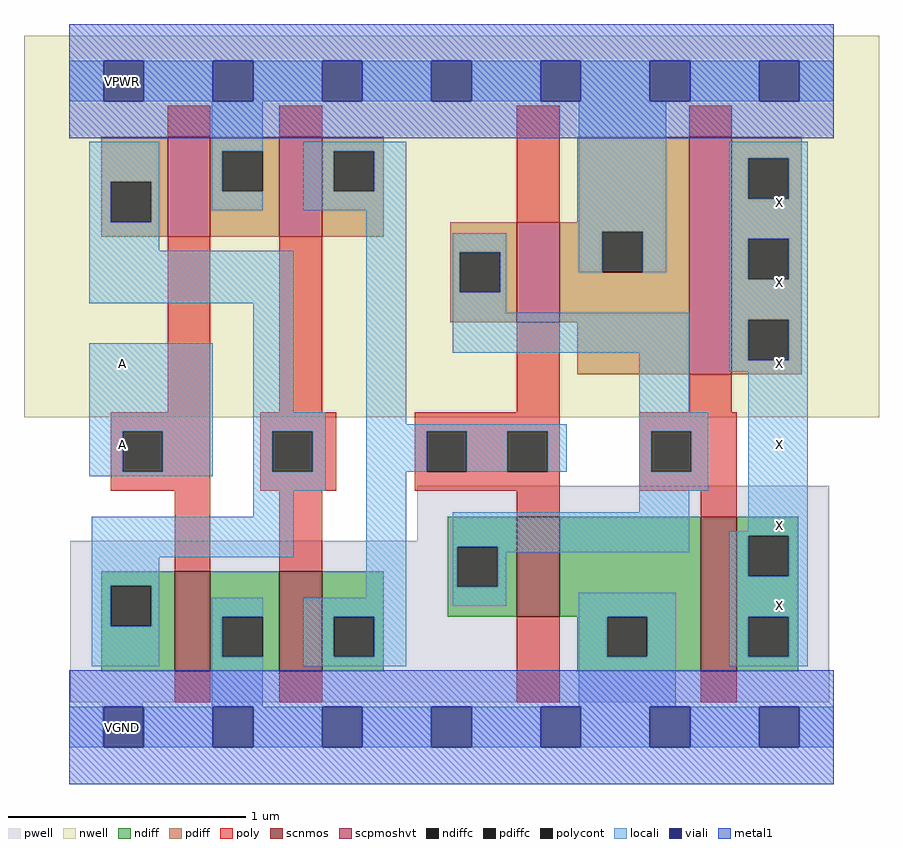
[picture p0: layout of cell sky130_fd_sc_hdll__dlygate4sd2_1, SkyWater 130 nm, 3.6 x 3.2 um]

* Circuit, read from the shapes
.subckt sky130_fd_sc_hdll__dlygate4sd2_1 A VGND VNB VPB VPWR X
XM1 VGND A n1 VNB sky130_fd_pr__nfet_01v8 w=0.42 l=0.15
XM2 n2 n1 VGND VNB sky130_fd_pr__nfet_01v8 w=0.42 l=0.18
XM3 VGND n2 n3 VNB sky130_fd_pr__nfet_01v8 w=0.42 l=0.18
XM4 X n3 VGND VNB sky130_fd_pr__nfet_01v8 w=0.65 l=0.15
XM5 VPWR A n1 VPB sky130_fd_pr__pfet_01v8_hvt w=0.42 l=0.18
XM6 n2 n1 VPWR VPB sky130_fd_pr__pfet_01v8_hvt w=0.42 l=0.18
XM7 VPWR n2 n3 VPB sky130_fd_pr__pfet_01v8_hvt w=0.42 l=0.18
XM8 X n3 VPWR VPB sky130_fd_pr__pfet_01v8_hvt w=1 l=0.18
.ends

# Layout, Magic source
magic
tech sky130A
magscale 1 2
<< nwell >>
rect -38 261 682 582
<< pwell >>
rect 293 157 640 203
rect 1 21 640 157
rect 28 -17 62 21
<< scnmos >>
rect 89 47 119 131
rect 177 47 213 131
rect 377 93 413 177
rect 532 47 562 177
<< scpmoshvt >>
rect 83 413 119 497
rect 177 413 213 497
rect 377 341 413 425
rect 522 297 558 497
<< ndiff >>
rect 319 152 377 177
rect 27 119 89 131
rect 27 85 35 119
rect 69 85 89 119
rect 27 47 89 85
rect 119 93 177 131
rect 119 59 129 93
rect 163 59 177 93
rect 119 47 177 59
rect 213 93 265 131
rect 319 118 327 152
rect 361 118 377 152
rect 319 93 377 118
rect 413 93 532 177
rect 213 59 223 93
rect 257 59 265 93
rect 213 47 265 59
rect 428 59 453 93
rect 487 59 532 93
rect 428 47 532 59
rect 562 161 614 177
rect 562 127 572 161
rect 606 127 614 161
rect 562 93 614 127
rect 562 59 572 93
rect 606 59 614 93
rect 562 47 614 59
<< pdiff >>
rect 27 459 83 497
rect 27 425 35 459
rect 69 425 83 459
rect 27 413 83 425
rect 119 485 177 497
rect 119 451 129 485
rect 163 451 177 485
rect 119 413 177 451
rect 213 485 265 497
rect 213 451 223 485
rect 257 451 265 485
rect 213 413 265 451
rect 428 425 522 497
rect 321 400 377 425
rect 321 366 329 400
rect 363 366 377 400
rect 321 341 377 366
rect 413 417 522 425
rect 413 383 449 417
rect 483 383 522 417
rect 413 341 522 383
rect 428 297 522 341
rect 558 479 617 497
rect 558 445 572 479
rect 606 445 617 479
rect 558 411 617 445
rect 558 377 572 411
rect 606 377 617 411
rect 558 343 617 377
rect 558 309 572 343
rect 606 309 617 343
rect 558 297 617 309
<< ndiffc >>
rect 35 85 69 119
rect 129 59 163 93
rect 327 118 361 152
rect 223 59 257 93
rect 453 59 487 93
rect 572 127 606 161
rect 572 59 606 93
<< pdiffc >>
rect 35 425 69 459
rect 129 451 163 485
rect 223 451 257 485
rect 329 366 363 400
rect 449 383 483 417
rect 572 445 606 479
rect 572 377 606 411
rect 572 309 606 343
<< poly >>
rect 83 497 119 523
rect 177 497 213 523
rect 377 425 413 523
rect 522 497 558 523
rect 83 265 119 413
rect 177 265 213 413
rect 377 265 413 341
rect 522 265 558 297
rect 35 249 119 265
rect 35 215 45 249
rect 79 215 119 249
rect 35 199 119 215
rect 161 249 225 265
rect 161 215 171 249
rect 205 215 225 249
rect 161 199 225 215
rect 291 249 413 265
rect 291 215 301 249
rect 335 215 369 249
rect 403 215 413 249
rect 291 199 413 215
rect 480 249 562 265
rect 480 215 490 249
rect 524 215 562 249
rect 480 199 562 215
rect 89 131 119 199
rect 177 131 213 199
rect 377 177 413 199
rect 532 177 562 199
rect 89 21 119 47
rect 177 21 213 47
rect 377 21 413 93
rect 532 21 562 47
<< polycont >>
rect 45 215 79 249
rect 171 215 205 249
rect 301 215 335 249
rect 369 215 403 249
rect 490 215 524 249
<< locali >>
rect 0 527 29 561
rect 63 527 121 561
rect 155 527 213 561
rect 247 527 305 561
rect 339 527 397 561
rect 431 527 489 561
rect 523 527 581 561
rect 615 527 644 561
rect 17 459 76 493
rect 17 425 35 459
rect 69 425 76 459
rect 120 485 163 527
rect 120 451 129 485
rect 120 435 163 451
rect 197 485 284 493
rect 197 451 223 485
rect 257 451 284 485
rect 197 435 284 451
rect 17 401 76 425
rect 17 357 189 401
rect 17 249 121 323
rect 17 215 45 249
rect 79 215 121 249
rect 17 211 121 215
rect 155 265 189 357
rect 155 249 216 265
rect 155 215 171 249
rect 205 215 216 249
rect 155 199 216 215
rect 250 255 284 435
rect 429 417 503 527
rect 323 400 368 416
rect 323 366 329 400
rect 363 366 368 400
rect 429 383 449 417
rect 483 383 503 417
rect 556 479 622 493
rect 556 445 572 479
rect 606 445 622 479
rect 556 411 622 445
rect 323 349 368 366
rect 556 377 572 411
rect 606 377 622 411
rect 323 315 522 349
rect 480 265 522 315
rect 556 343 622 377
rect 556 309 572 343
rect 606 309 622 343
rect 556 299 622 309
rect 250 249 419 255
rect 250 215 301 249
rect 335 215 369 249
rect 403 215 419 249
rect 480 249 538 265
rect 480 215 490 249
rect 524 215 538 249
rect 155 177 189 199
rect 19 143 189 177
rect 19 119 76 143
rect 19 85 35 119
rect 69 85 76 119
rect 250 109 284 215
rect 480 199 538 215
rect 480 181 522 199
rect 19 51 76 85
rect 120 93 163 109
rect 120 59 129 93
rect 120 17 163 59
rect 197 93 284 109
rect 323 152 522 181
rect 572 165 622 299
rect 323 118 327 152
rect 361 147 522 152
rect 556 161 622 165
rect 361 118 368 147
rect 323 102 368 118
rect 556 127 572 161
rect 606 127 622 161
rect 197 59 223 93
rect 257 59 284 93
rect 197 51 284 59
rect 429 93 511 113
rect 429 59 453 93
rect 487 59 511 93
rect 429 17 511 59
rect 556 93 622 127
rect 556 59 572 93
rect 606 59 622 93
rect 556 51 622 59
rect 0 -17 29 17
rect 63 -17 121 17
rect 155 -17 213 17
rect 247 -17 305 17
rect 339 -17 397 17
rect 431 -17 489 17
rect 523 -17 581 17
rect 615 -17 644 17
<< viali >>
rect 29 527 63 561
rect 121 527 155 561
rect 213 527 247 561
rect 305 527 339 561
rect 397 527 431 561
rect 489 527 523 561
rect 581 527 615 561
rect 29 -17 63 17
rect 121 -17 155 17
rect 213 -17 247 17
rect 305 -17 339 17
rect 397 -17 431 17
rect 489 -17 523 17
rect 581 -17 615 17
<< metal1 >>
rect 0 561 644 592
rect 0 527 29 561
rect 63 527 121 561
rect 155 527 213 561
rect 247 527 305 561
rect 339 527 397 561
rect 431 527 489 561
rect 523 527 581 561
rect 615 527 644 561
rect 0 496 644 527
rect 0 17 644 48
rect 0 -17 29 17
rect 63 -17 121 17
rect 155 -17 213 17
rect 247 -17 305 17
rect 339 -17 397 17
rect 431 -17 489 17
rect 523 -17 581 17
rect 615 -17 644 17
rect 0 -48 644 -17
<< labels >>
flabel locali s 28 289 62 323 0 FreeSans 200 0 0 0 A
port 1 nsew signal input
flabel locali s 581 425 615 459 0 FreeSans 200 0 0 0 X
port 6 nsew signal output
flabel locali s 581 357 615 391 0 FreeSans 200 0 0 0 X
port 6 nsew signal output
flabel locali s 581 85 615 119 0 FreeSans 200 0 0 0 X
port 6 nsew signal output
flabel locali s 28 221 62 255 0 FreeSans 200 0 0 0 A
port 1 nsew signal input
flabel locali s 581 153 615 187 0 FreeSans 200 0 0 0 X
port 6 nsew signal output
flabel locali s 581 221 615 255 0 FreeSans 200 0 0 0 X
port 6 nsew signal output
flabel locali s 581 289 615 323 0 FreeSans 200 0 0 0 X
port 6 nsew signal output
flabel metal1 s 28 527 62 561 0 FreeSans 200 0 0 0 VPWR
port 5 nsew power bidirectional
flabel metal1 s 28 -17 62 17 0 FreeSans 200 0 0 0 VGND
port 2 nsew ground bidirectional
flabel nwell s 28 527 62 561 0 FreeSans 200 0 0 0 VPB
port 4 nsew power bidirectional
flabel pwell s 28 -17 62 17 0 FreeSans 200 0 0 0 VNB
port 3 nsew ground bidirectional
rlabel comment s 0 0 0 0 4 dlygate4sd2_1
<< properties >>
string LEFsite unithd
string LEFclass CORE
string FIXED_BBOX 0 0 644 544
string GDS_FILE $PDKPATH/libs.ref/sky130_fd_sc_hdll/gds/sky130_fd_sc_hdll.gds
string LEFsymmetry X Y R90
string GDS_END 3437486
string GDS_START 3431530
string LEFproperties maskLayoutSubType "abstract" prCellType "standard" originalViewName "layout"
<< end >>
